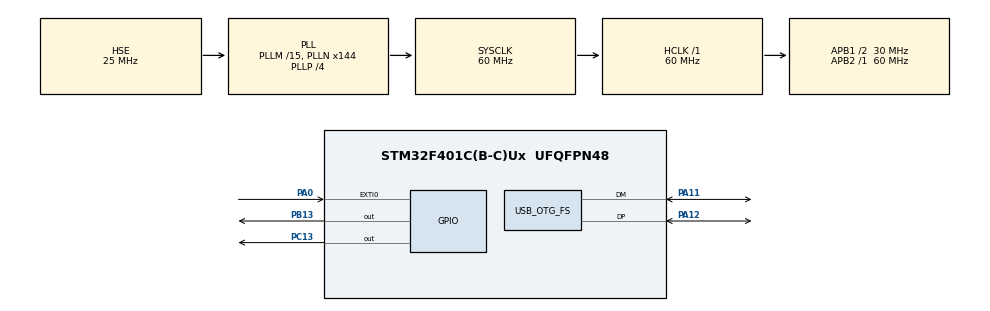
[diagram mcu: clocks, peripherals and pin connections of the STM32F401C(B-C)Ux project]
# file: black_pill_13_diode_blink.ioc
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Mcu.Family=STM32F4
Mcu.Name=STM32F401C(B-C)Ux
Mcu.Package=UFQFPN48
NVIC.EXTI0_IRQn=true\:0\:0\:false\:false\:true\:true\:true\:true
NVIC.OTG_FS_IRQn=true\:0\:0\:false\:false\:true\:false\:true\:true
NVIC.PriorityGroup=NVIC_PRIORITYGROUP_4
NVIC.TIM2_IRQn=true\:0\:0\:false\:false\:true\:true\:true\:true
NVIC.TIM3_IRQn=true\:0\:0\:false\:false\:true\:true\:true\:true
PA0-WKUP.GPIO_ModeDefaultEXTI=GPIO_MODE_IT_FALLING
PA0-WKUP.GPIO_PuPd=GPIO_PULLUP
PA0-WKUP.Signal=GPXTI0
PA11.Mode=Device_Only
PA11.Signal=USB_OTG_FS_DM
PA12.Mode=Device_Only
PA12.Signal=USB_OTG_FS_DP
PA13.Mode=Serial_Wire
PA13.Signal=SYS_JTMS-SWDIO
PA14.Mode=Serial_Wire
PA14.Signal=SYS_JTCK-SWCLK
PB13.Signal=GPIO_Output
PC13-ANTI_TAMP.Signal=GPIO_Output
PH0\ -\ OSC_IN.Mode=HSE-External-Oscillator
PH0\ -\ OSC_IN.Signal=RCC_OSC_IN
PH1\ -\ OSC_OUT.Mode=HSE-External-Oscillator
PH1\ -\ OSC_OUT.Signal=RCC_OSC_OUT
ProjectManager.HeapSize=0x200
ProjectManager.StackSize=0x400
ProjectManager.TargetToolchain=STM32CubeIDE
RCC.48MHZClocksFreq_Value=48000000
RCC.AHBFreq_Value=60000000
RCC.APB1CLKDivider=RCC_HCLK_DIV2
RCC.APB1Freq_Value=30000000
RCC.APB1TimFreq_Value=60000000
RCC.APB2Freq_Value=60000000
RCC.APB2TimFreq_Value=60000000
RCC.CortexFreq_Value=60000000
RCC.HCLKFreq_Value=60000000
RCC.HSE_VALUE=25000000
RCC.HSI_VALUE=16000000
RCC.LSE_VALUE=32768
RCC.PLLM=15
RCC.PLLN=144
RCC.PLLP=RCC_PLLP_DIV4
RCC.PLLQ=5
RCC.SYSCLKFreq_VALUE=60000000
RCC.SYSCLKSource=RCC_SYSCLKSOURCE_PLLCLK
RCC.VCOOutputFreq_Value=240000000
TIM2.Period=4999
TIM2.Prescaler=8399
TIM3.Period=399
TIM3.Prescaler=8399
USB_DEVICE.CLASS_NAME_FS=CDC
USB_DEVICE.VirtualMode=Cdc
USB_DEVICE.VirtualModeFS=Cdc_FS
USB_OTG_FS.VirtualMode=Device_Only
VP_TIM2_VS_ClockSourceINT.Mode=Internal
VP_TIM3_VS_ClockSourceINT.Mode=Internal
VP_TIM3_VS_OPM.Mode=OPM_bit
VP_USB_DEVICE_VS_USB_DEVICE_CDC_FS.Mode=CDC_FS
board=custom

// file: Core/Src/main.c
/* USER CODE BEGIN Header */
/**
  ******************************************************************************
  * @file           : main.c
  * @brief          : Main program body
  ******************************************************************************
  * @attention
  *
  * Copyright (c) 2026 STMicroelectronics.
  * All rights reserved.
  *
  * This software is licensed under terms that can be found in the LICENSE file
  * in the root directory of this software component.
  * If no LICENSE file comes with this software, it is provided AS-IS.
  *
  ******************************************************************************
  */
/* USER CODE END Header */
#include "main.h"
#include "tim.h"
#include "usb_device.h"
#include "gpio.h"

/* USER CODE BEGIN Includes */
#include<stdio.h>
#include<usbd_cdc_if.h>
/* USER CODE END Includes */

/* USER CODE BEGIN PD */
#define LED_PORT GPIOC
#define LED_PIN  GPIO_PIN_13
#define BUTTON_PORT GPIOA
#define BUTTON_PIN  GPIO_PIN_0
#define LED_ON GPIO_PIN_RESET
#define LED_OFF GPIO_PIN_SET
#define BUTTON_ACTIVE GPIO_PIN_RESET
/* USER CODE END PD */

/* USER CODE BEGIN PV */
volatile uint32_t button_flag = 0;
volatile uint32_t is_timer_running = 1;
/* USER CODE END PV */

void SystemClock_Config(void);
/* USER CODE BEGIN PFP */
void HAL_TIM_PeriodElapsedCallback(TIM_HandleTypeDef *htim);
/* USER CODE END PFP */

/* USER CODE BEGIN 0 */
int _write(int file, char *ptr, int len) {
    uint32_t start_time = HAL_GetTick();

    while (CDC_Transmit_FS((uint8_t*)ptr, len) == USBD_BUSY) {

        if (HAL_GetTick() - start_time > 2) {
            break;
        }
    }
    return len;
}
/* USER CODE END 0 */

int main(void)
{

  /* MCU Configuration--------------------------------------------------------*/

  /* Reset of all peripherals, Initializes the Flash interface and the Systick. */
  HAL_Init();

  /* Configure the system clock */
  SystemClock_Config();

  /* Initialize all configured peripherals */
  MX_GPIO_Init();
  MX_TIM2_Init();
  MX_USB_DEVICE_Init();
  MX_TIM3_Init();
  /* USER CODE BEGIN 2 */
  setvbuf(stdout, NULL, _IONBF, 0);
  HAL_TIM_Base_Start_IT(&htim2);
  /* USER CODE END 2 */

  /* Infinite loop */
  /* USER CODE BEGIN WHILE */
  while (1)
  {
	  uint32_t event = 0;
	  uint32_t timer_running = 0;

	  HAL_NVIC_DisableIRQ(TIM3_IRQn);
	    if (button_flag) {
	      button_flag = 0;
	      timer_running = is_timer_running;
	      event = 1;
	    }
	    HAL_NVIC_EnableIRQ(TIM3_IRQn);

	    if (event) {
	      printf(timer_running ? "Timer started\r\n" : "Timer stopped\r\n");
	    }
    /* USER CODE END WHILE */

  }
}

void SystemClock_Config(void)
{
  RCC_OscInitTypeDef RCC_OscInitStruct = {0};
  RCC_ClkInitTypeDef RCC_ClkInitStruct = {0};

  /** Configure the main internal regulator output voltage
  */
  __HAL_RCC_PWR_CLK_ENABLE();
  __HAL_PWR_VOLTAGESCALING_CONFIG(PWR_REGULATOR_VOLTAGE_SCALE2);

  /** Initializes the RCC Oscillators according to the specified parameters
  * in the RCC_OscInitTypeDef structure.
  */
  RCC_OscInitStruct.OscillatorType = RCC_OSCILLATORTYPE_HSE;
  RCC_OscInitStruct.HSEState = RCC_HSE_ON;
  RCC_OscInitStruct.PLL.PLLState = RCC_PLL_ON;
  RCC_OscInitStruct.PLL.PLLSource = RCC_PLLSOURCE_HSE;
  RCC_OscInitStruct.PLL.PLLM = 15;
  RCC_OscInitStruct.PLL.PLLN = 144;
  RCC_OscInitStruct.PLL.PLLP = RCC_PLLP_DIV4;
  RCC_OscInitStruct.PLL.PLLQ = 5;
  if (HAL_RCC_OscConfig(&RCC_OscInitStruct) != HAL_OK)
  {
    Error_Handler();
  }

  /** Initializes the CPU, AHB and APB buses clocks
  */
  RCC_ClkInitStruct.ClockType = RCC_CLOCKTYPE_HCLK|RCC_CLOCKTYPE_SYSCLK
                              |RCC_CLOCKTYPE_PCLK1|RCC_CLOCKTYPE_PCLK2;
  RCC_ClkInitStruct.SYSCLKSource = RCC_SYSCLKSOURCE_PLLCLK;
  RCC_ClkInitStruct.AHBCLKDivider = RCC_SYSCLK_DIV1;
  RCC_ClkInitStruct.APB1CLKDivider = RCC_HCLK_DIV2;
  RCC_ClkInitStruct.APB2CLKDivider = RCC_HCLK_DIV1;

  if (HAL_RCC_ClockConfig(&RCC_ClkInitStruct, FLASH_LATENCY_1) != HAL_OK)
  {
    Error_Handler();
  }
}

/* USER CODE BEGIN 4 */
void HAL_TIM_PeriodElapsedCallback(TIM_HandleTypeDef *htim)
{
    if (htim->Instance == TIM2){
        HAL_GPIO_TogglePin(LED_PORT, LED_PIN);
    }

    if (htim->Instance == TIM3){
        HAL_TIM_Base_Stop_IT(&htim3);

        if (HAL_GPIO_ReadPin(BUTTON_PORT, BUTTON_PIN) == BUTTON_ACTIVE) {

            if (is_timer_running == 1){
                HAL_TIM_Base_Stop_IT(&htim2);
                is_timer_running = 0;
                HAL_GPIO_WritePin(LED_PORT, LED_PIN, LED_OFF);
            } else {
                HAL_TIM_Base_Start_IT(&htim2);
                is_timer_running = 1;
            }

            button_flag = 1;
        }

        __HAL_GPIO_EXTI_CLEAR_IT(BUTTON_PIN);
        HAL_NVIC_ClearPendingIRQ(EXTI0_IRQn);

        HAL_NVIC_EnableIRQ(EXTI0_IRQn);
    }
}

void HAL_GPIO_EXTI_Callback(uint16_t GPIO_Pin)
{
    if (GPIO_Pin == BUTTON_PIN){
        HAL_NVIC_DisableIRQ(EXTI0_IRQn);

        __HAL_TIM_SET_COUNTER(&htim3, 0);

        HAL_TIM_Base_Start_IT(&htim3);
    }
}
/* USER CODE END 4 */

void Error_Handler(void)
{
  __disable_irq();
  while (1)
  {
  }
}
